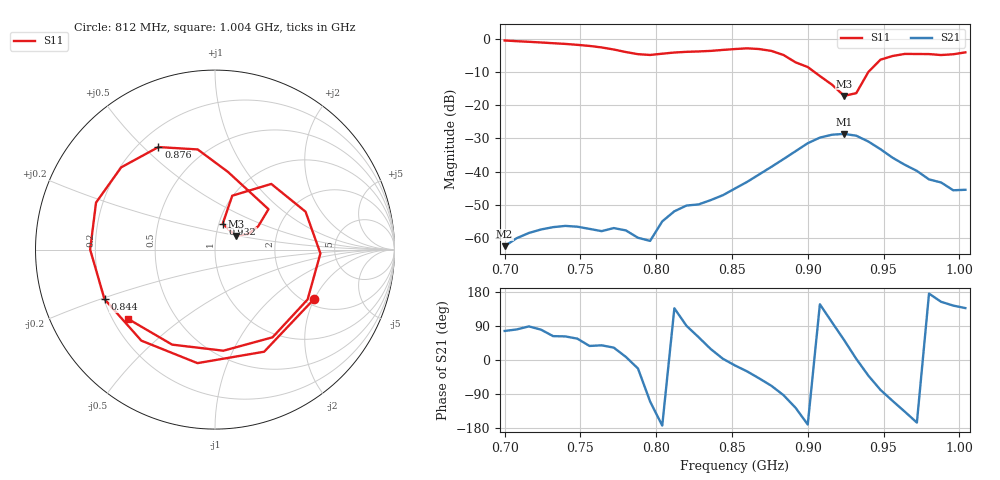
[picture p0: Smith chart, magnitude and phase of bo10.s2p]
# Hz S RI R 50
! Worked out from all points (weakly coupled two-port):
!   39 points, 700 MHz to 1.004 GHz, reference 50 ohm
!   highest |S21| = -28.63 dB at 924 MHz (marker M1); lowest = -62.3 dB at 700 MHz (marker M2)
!   lowest |S11| = -17.2 dB at 924 MHz (marker M3), VSWR 1.32, Z = 62.2 + j9.58 ohm
!   |S11| at or under -10 dB: 904.3 MHz to 940.1 MHz (35.77 MHz wide, 3.88 % of centre)
!   S12 and S22 are empty: the file has one direction only
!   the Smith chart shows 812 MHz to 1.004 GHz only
!   S11 on the Smith chart (normalised r, x): 812 MHz: 2.24, -1.99; 844 MHz: 0.20, -0.21; 876 MHz: 0.28, +0.56; 932 MHz: 1.04, +0.31; 1.004 GHz: 0.26, -0.33
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7e8  0.7502 0.5596  0.000176 0.000742  0 0  0 0
7.24e8  0.8399 -0.2378  0.000234 0.00134  0 0  0 0
7.4e8  0.4615 -0.6908  0.000715 0.00136  0 0  0 0
7.56e8  -0.183 -0.7527  0.00111 0.000836  0 0  0 0
7.72e8  -0.6547 -0.1998  0.0012 0.00077  0 0  0 0
7.8e8  -0.5856 0.2246  0.0013 0.000188  0 0  0 0
7.88e8  -0.2449 0.5284  0.000942 -0.000391  0 0  0 0
7.96e8  0.2379 0.5145  -0.000306 -0.000863  0 0  0 0
8.04e8  0.5656 0.1747  -0.00179 -0.000215  0 0  0 0
8.12e8  0.5521 -0.2751  -0.00185 0.00175  0 0  0 0
8.28e8  -0.0977 -0.6326  0.00161 0.0028  0 0  0 0
8.44e8  -0.6156 -0.2758  0.00444 0.000255  0 0  0 0
8.52e8  -0.6956 -0.000214  0.00542 -0.00139  0 0  0 0
8.76e8  -0.3151 0.5713  0.00442 -0.011  0 0  0 0
9e8  0.2981 0.2251  -0.0264 -0.00454  0 0  0 0
9.08e8  0.2408 0.1299  -0.0273 0.0177  0 0  0 0
9.24e8  0.1154 0.0755  0.0225 0.0294  0 0  0 0
9.32e8  0.0433 0.1451  0.0347 0.00183  0 0  0 0
9.48e8  0.3136 0.3659  0.00418 -0.0214  0 0  0 0
9.56e8  0.5045 0.2112  -0.00503 -0.0154  0 0  0 0
9.8e8  0.3205 -0.4887  -0.00764 0.000637  0 0  0 0
1.004e9  -0.4862 -0.3851  -0.00392 0.00366  0 0  0 0
